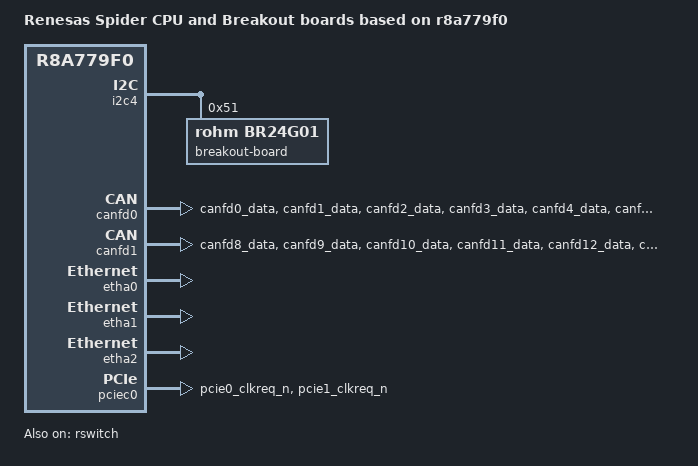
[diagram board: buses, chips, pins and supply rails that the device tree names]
// SPDX-License-Identifier: GPL-2.0
/*
 * Device Tree Source for the Spider CPU and Breakout boards
 *
 * Copyright (C) 2021 Renesas Electronics Corp.
 */

/dts-v1/;
#include "r8a779f0-spider-cpu.dtsi"
#include "r8a779f0-spider-ethernet.dtsi"

/ {
	model = "Renesas Spider CPU and Breakout boards based on r8a779f0";
	compatible = "renesas,spider-breakout", "renesas,spider-cpu", "renesas,r8a779f0";

	aliases {
		eth0 = &rswitch;
		};
};

&i2c4 {
	eeprom@51 {
		compatible = "rohm,br24g01", "atmel,24c01";
		label = "breakout-board";
		reg = <0x51>;
		pagesize = <8>;
	};
};

&canfd0 {
	pinctrl-0 = <&canfd0_pins>, <&canfd1_pins>, <&canfd2_pins>,
				<&canfd3_pins>, <&canfd4_pins>, <&canfd5_pins>,
				<&canfd6_pins>, <&canfd7_pins>;
	pinctrl-names = "default";
	status = "okay";

	channel0 {
		status = "okay";
	};

	channel1 {
		status = "okay";
	};

	channel2 {
		status = "okay";
	};

	channel3 {
		status = "okay";
	};

	channel4 {
		status = "okay";
	};

	channel5 {
		status = "okay";
	};

	channel6 {
		status = "okay";
	};

	channel7 {
		status = "okay";
	};
};

&canfd1 {
	pinctrl-0 = <&canfd8_pins>,<&canfd9_pins>, <&canfd10_pins>, 
				<&canfd11_pins>, <&canfd12_pins>, <&canfd13_pins>, 
				<&canfd14_pins>, <&canfd15_pins>;
	pinctrl-names = "default";
	status = "okay";

	channel0 {
		status = "okay";
	};

	channel1 {
		status = "okay";
	};

	channel2 {
		status = "okay";
	};

	channel3 {
		status = "okay";
	};

	channel4 {
		status = "okay";
	};

	channel5 {
		status = "okay";
	};

	channel6 {
		status = "okay";
	};

	channel7 {
		status = "okay";
	};
};

&pfc {
	tsn0_pins: tsn0 {
		mux {
			groups = "tsn0_link", "tsn0_mdio";
			function = "tsn0";
			drive-strength = <18>;
			power-source = <1800>;
		};

		pins_mdio {
			groups = "tsn0_mdio";
			drive-strength = <18>;
			power-source = <1800>;
		};
	};

	tsn1_pins: tsn1 {
		mux {
			groups = "tsn1_link", "tsn1_mdio";
			function = "tsn1";
			drive-strength = <18>;
			power-source = <1800>;
		};

		pins_mdio {
			groups = "tsn1_mdio";
			drive-strength = <18>;
			power-source = <1800>;
		};
	};

	tsn2_pins: tsn2 {
		mux {
			groups = "tsn2_link", "tsn2_mdio";
			function = "tsn2";
			drive-strength = <18>;
			power-source = <1800>;
		};

		pins_mdio {
			groups = "tsn2_mdio";
			drive-strength = <18>;
			power-source = <1800>;
		};
	};

	canfd0_pins: canfd0 {
		groups = "canfd0_data";
		function = "canfd0";
	};

	canfd1_pins: canfd1 {
		groups = "canfd1_data";
		function = "canfd1";
	};

	canfd2_pins: canfd2 {
		groups = "canfd2_data";
		function = "canfd2";
	};

	canfd3_pins: canfd3 {
		groups = "canfd3_data";
		function = "canfd3";
	};

	canfd4_pins: canfd4 {
		groups = "canfd4_data";
		function = "canfd4";
	};

	canfd5_pins: canfd5 {
		groups = "canfd5_data";
		function = "canfd5";
	};

	canfd6_pins: canfd6 {
		groups = "canfd6_data";
		function = "canfd6";
	};

	canfd7_pins: canfd7 {
		groups = "canfd7_data";
		function = "canfd7";
	};

	canfd8_pins: canfd8 {
		groups = "canfd8_data";
		function = "canfd8";
	};

	canfd9_pins: canfd9 {
		groups = "canfd9_data";
		function = "canfd9";
	};

	canfd10_pins: canfd10 {
		groups = "canfd10_data";
		function = "canfd10";
	};

	canfd11_pins: canfd11 {
		groups = "canfd11_data";
		function = "canfd11";
	};

	canfd12_pins: canfd12 {
		groups = "canfd12_data";
		function = "canfd12";
	};

	canfd13_pins: canfd13 {
		groups = "canfd13_data";
		function = "canfd13";
	};

	canfd14_pins: canfd14 {
		groups = "canfd14_data";
		function = "canfd14";
	};

	canfd15_pins: canfd15 {
		groups = "canfd15_data";
		function = "canfd15";
	};

	pcie0_pins: pcie0 {
		groups = "pcie0_clkreq_n";
		function = "pcie";
	};

	pcie1_pins: pcie1 {
		groups = "pcie1_clkreq_n";
		function = "pcie";
	};

	taud0_pwm_pins: taud0_pwm {
		groups = "taud0_pwm1", "taud0_pwm2";
		function = "taud0_pwm";
	};
};

&rswitch {
	status = "okay";
	pinctrl-0 = <&tsn0_pins &tsn1_pins &tsn2_pins>;
	pinctrl-names = "default";
	#address-cells = <1>;
	#size-cells = <0>;

	ports {
		#address-cells = <1>;
		#size-cells = <0>;
		port@0 {
			reg = <0>;
			phy-handle = <&etha0>;
			#address-cells = <1>;
			#size-cells = <0>;
			etha0: ethernet-phy@0 {
				reg = <1>;
				compatible = "ethernet-phy-ieee802.3-c45";
			};
		};
		port@1 {
			reg = <1>;
			phy-handle = <&etha1>;
			#address-cells = <1>;
			#size-cells = <0>;
			etha1: ethernet-phy@1 {
				reg = <2>;
				compatible = "ethernet-phy-ieee802.3-c45";
			};
		};
		port@2 {
			reg = <2>;
			phy-handle = <&etha2>;
			#address-cells = <1>;
			#size-cells = <0>;
			etha2: ethernet-phy@2 {
				reg = <3>;
				compatible = "ethernet-phy-ieee802.3-c45";
			};
		};
	};
};

&pcie_bus_clk {
	clock-frequency = <100000000>;
};

&pciec0 {
	status = "okay";
	pinctrl-0 = <&pcie0_pins>, <&pcie1_pins>;
	pinctrl-names = "default";
	clkreq-gpios = <&gpio2 15 GPIO_ACTIVE_LOW>;
};

&pciec0_ep {
	status = "disabled";
	pinctrl-0 = <&pcie0_pins>;
	pinctrl-names = "default";
	clkreq-gpios = <&gpio2 15 GPIO_ACTIVE_LOW>;
};

&pciec1 {
	status = "disabled";
	pinctrl-0 = <&pcie1_pins>;
	pinctrl-names = "default";
	clkreq-gpios = <&gpio2 16 GPIO_ACTIVE_LOW>;
};

&pciec1_ep {
	status = "disabled";
	pinctrl-0 = <&pcie1_pins>;
	pinctrl-names = "default";
	clkreq-gpios = <&gpio2 16 GPIO_ACTIVE_LOW>;
};

&tau_pwm0 {
	pinctrl-0 = <&taud0_pwm_pins>;
	pinctrl-names = "default";

	status = "disable";
};
